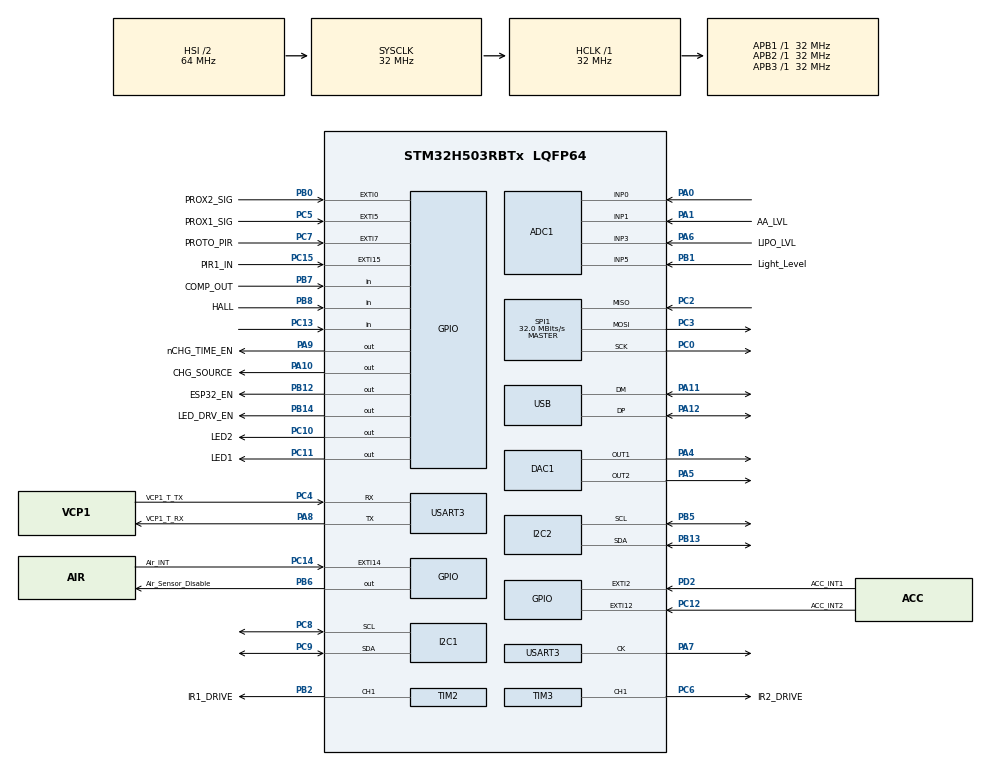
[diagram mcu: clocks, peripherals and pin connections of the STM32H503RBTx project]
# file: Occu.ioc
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ADC1.Channel-1\#ChannelRegularConversion=ADC_CHANNEL_1
ADC1.MonitoredBy-1\#ChannelRegularConversion=__NULL
ADC1.NbrOfConversionFlag=1
ADC1.OffsetNumber-1\#ChannelRegularConversion=ADC_OFFSET_NONE
ADC1.Rank-1\#ChannelRegularConversion=1
ADC1.SamplingTime-1\#ChannelRegularConversion=ADC_SAMPLETIME_2CYCLES_5
ADC1.master=1
BOOTPATH.BootPathName=LEGACY
BOOTPATH.UserSelectedBootPath=LEGACY
DAC1.DAC_Channel-DAC_OUT1=DAC_CHANNEL_1
DAC1.DAC_Channel-DAC_OUT2=DAC_CHANNEL_2
I2C1.Timing=0x00707CBB
I2C2.Timing=0x00707CBB
Mcu.Family=STM32H5
Mcu.Name=STM32H503RBTx
Mcu.Package=LQFP64
NVIC.PriorityGroup=NVIC_PRIORITYGROUP_4
NVIC.TIM1_UP_IRQn=true\:15\:0\:false\:false\:true\:false\:true\:true
NVIC.TimeBase=TIM1_UP_IRQn
NVIC.TimeBaseIP=TIM1
PA0.Signal=ADCx_INP0
PA1.GPIO_Label=AA_LVL
PA1.Signal=ADCx_INP1
PA10.GPIO_Label=CHG_SOURCE
PA10.Signal=GPIO_Output
PA11.Mode=Device
PA11.Signal=USB_DM
PA12.Mode=Device
PA12.Signal=USB_DP
PA13(JTMS/SWDIO).Mode=JTAG_4_pins
PA13(JTMS/SWDIO).Signal=DEBUG_JTMS-SWDIO
PA14(JTCK/SWCLK).Mode=JTAG_4_pins
PA14(JTCK/SWCLK).Signal=DEBUG_JTCK-SWCLK
PA15(JTDI).Mode=JTAG_4_pins
PA15(JTDI).Signal=DEBUG_JTDI
PA4.Signal=COMP_DAC11_group
PA5.Signal=COMP_DAC12_group
PA6.GPIO_Label=LIPO_LVL
PA6.Signal=ADCx_INP3
PA7.Mode=Synchronous
PA7.Signal=USART3_CK
PA8.GPIO_Label=VCP1_T_RX
PA8.Mode=Synchronous
PA8.Signal=USART3_TX
PA9.GPIO_Label=nCHG_TIME_EN
PA9.Signal=GPIO_Output
PB0.GPIO_Label=PROX2_SIG
PB0.Signal=GPXTI0
PB1.GPIO_Label=Light_Level
PB1.Signal=ADCx_INP5
PB12.GPIO_Label=ESP32_EN
PB12.Signal=GPIO_Output
PB13.Mode=I2C
PB13.Signal=I2C2_SDA
PB14.GPIO_Label=LED_DRV_EN
PB14.Signal=GPIO_Output
PB2.GPIO_Label=IR1_DRIVE
PB2.Signal=S_TIM2_CH1
PB3(JTDO/TRACESWO).Mode=JTAG_4_pins
PB3(JTDO/TRACESWO).Signal=DEBUG_JTDO-SWO
PB4(NJTRST).Signal=DEBUG_JTRST
PB5.Mode=I2C
PB5.Signal=I2C2_SCL
PB6.GPIO_Label=Air_Sensor_Disable
PB6.Signal=GPIO_Output
PB7.GPIO_Label=COMP_OUT
PB7.Signal=GPIO_Input
PB8.GPIO_Label=HALL
PB8.Signal=GPIO_Input
PC0.Mode=Full_Duplex_Master
PC0.Signal=SPI1_SCK
PC10.GPIO_Label=LED2
PC10.PinState=GPIO_PIN_SET
PC10.Signal=GPIO_Output
PC11.GPIO_Label=LED1
PC11.PinState=GPIO_PIN_SET
PC11.Signal=GPIO_Output
PC12.GPIO_Label=ACC_INT2
PC12.Signal=GPXTI12
PC13.Signal=GPIO_Input
PC14-OSC32_IN(OSC32_IN).GPIO_Label=Air_INT
PC14-OSC32_IN(OSC32_IN).Signal=GPXTI14
PC15-OSC32_OUT(OSC32_OUT).GPIO_Label=PIR1_IN
PC15-OSC32_OUT(OSC32_OUT).Signal=GPXTI15
PC2.Mode=Full_Duplex_Master
PC2.Signal=SPI1_MISO
PC3.Mode=Full_Duplex_Master
PC3.Signal=SPI1_MOSI
PC4.GPIO_Label=VCP1_T_TX
PC4.Mode=Synchronous
PC4.Signal=USART3_RX
PC5.GPIO_Label=PROX1_SIG
PC5.Signal=GPXTI5
PC6.GPIO_Label=IR2_DRIVE
PC6.Signal=S_TIM3_CH1
PC7.GPIO_Label=PROTO_PIR
PC7.Signal=GPXTI7
PC8.Mode=I2C
PC8.Signal=I2C1_SCL
PC9.Mode=I2C
PC9.Signal=I2C1_SDA
PD2.GPIO_Label=ACC_INT1
PD2.Signal=GPXTI2
PH0-OSC_IN(PH0).Mode=HSE-External-Oscillator
PH0-OSC_IN(PH0).Signal=RCC_OSC_IN
PH1-OSC_OUT(PH1).Mode=HSE-External-Oscillator
PH1-OSC_OUT(PH1).Signal=RCC_OSC_OUT
ProjectManager.HeapSize=0x200
ProjectManager.StackSize=0x400
ProjectManager.TargetToolchain=STM32CubeIDE
RCC.ADCFreq_Value=32000000
RCC.AHBFreq_Value=32000000
RCC.APB1Freq_Value=32000000
RCC.APB1TimFreq_Value=32000000
RCC.APB2Freq_Value=32000000
RCC.APB2TimFreq_Value=32000000
RCC.APB3Freq_Value=32000000
RCC.CSI_VALUE=4000000
RCC.CortexFreq_Value=32000000
RCC.DACLowPowerCLockSelection=RCC_DACLPCLKSOURCE_LSI
RCC.EPOD_VALUE=4000000
RCC.HCLKFreq_Value=32000000
RCC.HSE_VALUE=25000000
RCC.HSI48_VALUE=48000000
RCC.HSI_VALUE=64000000
RCC.LSE_VALUE=32768
RCC.LSIRC_VALUE=32000
RCC.PLLFRACN=0
RCC.PLLN=32
RCC.SYSCLKFreq_VALUE=32000000
RCC.USBFreq_Value=48000000
RCC.VCOOutputFreq_Value=128000000
SH.ADCx_INP0.0=ADC1_INP0,IN0-Single-Ended
SH.ADCx_INP1.0=ADC1_INP1,IN1-Single-Ended
SH.ADCx_INP3.0=ADC1_INP3,IN3-Single-Ended
SH.ADCx_INP5.0=ADC1_INP5,IN5-Single-Ended
SH.COMP_DAC11_group.0=DAC1_OUT1,DAC_OUT1
SH.COMP_DAC12_group.0=DAC1_OUT2,DAC_OUT2
SH.S_TIM2_CH1.0=TIM2_CH1,PWM Generation1 CH1
SH.S_TIM3_CH1.0=TIM3_CH1,PWM Generation1 CH1
SPI1.CalculateBaudRate=32.0 MBits/s
SPI1.Direction=SPI_DIRECTION_2LINES
SPI1.Mode=SPI_MODE_MASTER
SPI1.VirtualType=VM_MASTER
TIM2.Channel-PWM\ Generation1\ CH1=TIM_CHANNEL_1
TIM3.Channel-PWM\ Generation1\ CH1=TIM_CHANNEL_1
USART3.VirtualMode=VM_SYNC
USB.VirtualMode=Device_Only
VP_BOOTPATH_VS_BOOTPATH.Mode=BP_Activate
VP_CORTEX_M33_NS_VS_Hclk.Mode=Hclk_Mode
VP_ICACHE_VS_ICACHE.Mode=DirectMappedCache
VP_MEMORYMAP_VS_MEMORYMAP.Mode=CurAppReg
VP_PWR_VS_DBSignals.Mode=DisableDeadBatterySignals
VP_PWR_VS_LPOM.Mode=PowerOptimisation
VP_PWR_VS_SECSignals.Mode=Security/Privilege
VP_SAU_VS_SAU.Mode=SAU_Init
VP_SYS_VS_tim1.Mode=TIM1
board=custom

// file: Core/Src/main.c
/* USER CODE BEGIN Header */
//https://github.com/berndoJ/IS31FL3236_STM32_HAL_Driver/blob/master/doc/IS31FL3236_WriteRGBPWM%20Function.md
/**
  ******************************************************************************
  * @file           : main.c
  * @brief          : Main program body
  ******************************************************************************
  * @attention
  *
  * Copyright (c) 2024 STMicroelectronics.
  * All rights reserved.
  *
  * This software is licensed under terms that can be found in the LICENSE file
  * in the root directory of this software component.
  * If no LICENSE file comes with this software, it is provided AS-IS.
  *
  ******************************************************************************
  */
/* USER CODE END Header */
#include "main.h"

/* USER CODE BEGIN Includes */
#include "is31fl3236_driver.h"
/* USER CODE END Includes */

ADC_HandleTypeDef hadc1;

DAC_HandleTypeDef hdac1;

I2C_HandleTypeDef hi2c1;
I2C_HandleTypeDef hi2c2;

SPI_HandleTypeDef hspi1;

TIM_HandleTypeDef htim2;
TIM_HandleTypeDef htim3;

USART_HandleTypeDef husart3;

PCD_HandleTypeDef hpcd_USB_DRD_FS;

void SystemClock_Config(void);
static void MX_GPIO_Init(void);
static void MX_ADC1_Init(void);
static void MX_DAC1_Init(void);
static void MX_I2C1_Init(void);
static void MX_SAU_Init(void);
static void MX_SPI1_Init(void);
static void MX_TIM2_Init(void);
static void MX_TIM3_Init(void);
static void MX_USB_PCD_Init(void);
static void MX_I2C2_Init(void);
static void MX_USART3_Init(void);
static void MX_ICACHE_Init(void);

/* USER CODE BEGIN 0 */
#define IS31FL3235A_ADDR 0x78  //0x3C
IS31FL3236_HandleTypeDef* ptr_h_led_drvr_foo;
/* USER CODE END 0 */

int main(void)
{

  /* MCU Configuration--------------------------------------------------------*/

  /* Reset of all peripherals, Initializes the Flash interface and the Systick. */
  HAL_Init();

  /* Configure the system clock */
  SystemClock_Config();

  /* Initialize all configured peripherals */
  MX_GPIO_Init();
  MX_ADC1_Init();
  MX_DAC1_Init();
  MX_I2C1_Init();
  MX_SAU_Init();
  MX_SPI1_Init();
  MX_TIM2_Init();
  MX_TIM3_Init();
  MX_USB_PCD_Init();
  MX_I2C2_Init();
  MX_USART3_Init();
  MX_ICACHE_Init();
  /* USER CODE BEGIN 2 */
  HAL_GPIO_WritePin(GPIOB,ESP32_EN_Pin,GPIO_PIN_RESET);
  HAL_GPIO_WritePin(GPIOB,LED_DRV_EN_Pin,GPIO_PIN_SET);
  HAL_GPIO_WritePin(GPIOA,CHG_SOURCE_Pin,GPIO_PIN_RESET);
  HAL_GPIO_WritePin(GPIOA,nCHG_TIME_EN_Pin,GPIO_PIN_RESET); //nCHG_TIME_EN
  uint8_t i;

 /* int IS31FL3235A_WriteRegister(uint8_t reg, uint8_t value)
  {
      uint8_t data[2] = {reg, value};
      return HAL_I2C_Master_Transmit(&hi2c1, IS31FL3235A_ADDR << 1, data, sizeof(data), 1000);
  }

  void IS31FL3235A_Init(void)
  {
      // Example to set up a normal operation mode and configure all LEDs
      IS31FL3235A_WriteRegister(0x00, 0x01); // Assuming 0x00 is a control register
      //return 0;
  }*/
  /*//IS31FL3235A_Init();
  IS31FL3235A_WriteRegister(0x00, 0x01);
  //IS31FL3235A_Init();
  IS31FL3235A_WriteRegister(0x05, 0x0F);
  //IS31FL3235A_Init();
  IS31FL3235A_WriteRegister(0x08, 0xFF);
  //IS31FL3235A_Init();
  IS31FL3235A_WriteRegister(0x25, 0x00);
  //IS31FL3235A_Init();
  IS31FL3235A_WriteRegister(0x2A, 0xFF);
  //IS31FL3235A_Init();
  IS31FL3235A_WriteRegister(0x4A, 0xFF);
  //IS31FL3235A_Init();
  IS31FL3235A_WriteRegister(0x4B, 0xFF);
  //IS31FL3235A_WriteRegister(0x25, 0x00);*/

  //IS31FL3236_HandleTypeDef* ptr_h_led_drvr_foo;
  //IS31FL3236_Init(ptr_h_led_drvr_foo);
  IS31FL3236_InitTypeDef h_led_drvr_foo;

  h_led_drvr_foo.I2C_Bus = &hi2c1;
  h_led_drvr_foo.I2C_Device_Address = IS31FL3236_GET_I2C_ADDR(IS31FL3236_I2C_AD_TO_GND);
  h_led_drvr_foo.I2C_Transmit_Timeout_Milliseconds = 10; // 10ms is default.
  h_led_drvr_foo.Chip_Enable_Signal_Port = GPIOB;
  h_led_drvr_foo.Chip_Enable_Signal_Pin = GPIO_PIN_14;

  // Optional [
  h_led_drvr_foo.RGB_Mode_Color_1 = IS31FL3236_RGB_CONFIG_RED;
  h_led_drvr_foo.RGB_Mode_Color_2 = IS31FL3236_RGB_CONFIG_GREEN;
  h_led_drvr_foo.RGB_Mode_Color_3 = IS31FL3236_RGB_CONFIG_BLUE;
  // ]

  // Store the pointer to the handle in a (global) variable for future access in other functions.
  ptr_h_led_drvr_foo = &h_led_drvr_foo;

  // Init the handle.
  IS31FL3236_Init(ptr_h_led_drvr_foo);

  IS31FL3236_WriteGlobalLEDControl(ptr_h_led_drvr_foo, IS31FL3236_LED_CURRENT_MAX, IS31FL3236_LED_STATE_ON);
    // Send an update command to the chip.
  IS31FL3236_Update(ptr_h_led_drvr_foo);

  /*for(i=1; i<33; i++)
  {

  IS31FL3236_WriteLEDControl(ptr_h_led_drvr_foo,i, IS31FL3236_LED_CURRENT_MAX_DIV_2, IS31FL3236_LED_STATE_ON);
  // Send the chip and update command.
  IS31FL3236_Update(ptr_h_led_drvr_foo);

  IS31FL3236_WritePWM(ptr_h_led_drvr_foo, i, 200);
  // Send the chip an update command.
  IS31FL3236_Update(ptr_h_led_drvr_foo);

  }*/
/*    IS31FL3236_WriteLEDControl(ptr_h_led_drvr_foo,2, IS31FL3236_LED_CURRENT_MAX_DIV_2, IS31FL3236_LED_STATE_ON);
    IS31FL3236_WriteLEDControl(ptr_h_led_drvr_foo,5, IS31FL3236_LED_CURRENT_MAX_DIV_2, IS31FL3236_LED_STATE_ON);
    IS31FL3236_WriteLEDControl(ptr_h_led_drvr_foo,8, IS31FL3236_LED_CURRENT_MAX_DIV_2, IS31FL3236_LED_STATE_ON);
    IS31FL3236_WriteLEDControl(ptr_h_led_drvr_foo,11, IS31FL3236_LED_CURRENT_MAX_DIV_2, IS31FL3236_LED_STATE_ON);
    IS31FL3236_WriteLEDControl(ptr_h_led_drvr_foo,14, IS31FL3236_LED_CURRENT_MAX_DIV_2, IS31FL3236_LED_STATE_ON);
    IS31FL3236_WriteLEDControl(ptr_h_led_drvr_foo,17, IS31FL3236_LED_CURRENT_MAX_DIV_2, IS31FL3236_LED_STATE_ON);
    IS31FL3236_WriteLEDControl(ptr_h_led_drvr_foo,20, IS31FL3236_LED_CURRENT_MAX_DIV_2, IS31FL3236_LED_STATE_ON);
    IS31FL3236_WriteLEDControl(ptr_h_led_drvr_foo,23, IS31FL3236_LED_CURRENT_MAX_DIV_2, IS31FL3236_LED_STATE_ON);
    IS31FL3236_WriteLEDControl(ptr_h_led_drvr_foo,26, IS31FL3236_LED_CURRENT_MAX_DIV_2, IS31FL3236_LED_STATE_ON);
    // Send the chip and update command.
    IS31FL3236_Update(ptr_h_led_drvr_foo);

    IS31FL3236_WritePWM(ptr_h_led_drvr_foo, 2, 200);
    IS31FL3236_WritePWM(ptr_h_led_drvr_foo, 5, 200);
    IS31FL3236_WritePWM(ptr_h_led_drvr_foo, 8, 200);
    IS31FL3236_WritePWM(ptr_h_led_drvr_foo, 11, 200);IS31FL3236_WritePWM(ptr_h_led_drvr_foo, i, 200);
    IS31FL3236_WritePWM(ptr_h_led_drvr_foo, 14, 200);
    IS31FL3236_WritePWM(ptr_h_led_drvr_foo, 17, 200);
    IS31FL3236_WritePWM(ptr_h_led_drvr_foo, 20, 200);
    IS31FL3236_WritePWM(ptr_h_led_drvr_foo, 23, 200);
    IS31FL3236_WritePWM(ptr_h_led_drvr_foo, 26, 200);
    // Send the chip an update command.
    IS31FL3236_Update(ptr_h_led_drvr_foo);*/

 /* // Set the color of RGB channel 0 to #FF00FF (Violet / Purple)
  IS31FL3236_WriteRGBPWM(ptr_h_led_drvr_foo, 10, 0xFF, 0x00, 0xFF);
  // Send the chip an update command.
  IS31FL3236_Update(ptr_h_led_drvr_foo);*/
  uint8_t selected_channels[] = {2,5,8,11,14,26,23,20,17};
  uint8_t num_of_channels = sizeof(selected_channels) / sizeof(selected_channels[0]);
  uint8_t pwm_value = 128; // Example PWM value

    IS31FL3236_WriteSelectedLEDControl(ptr_h_led_drvr_foo,selected_channels,num_of_channels,IS31FL3236_LED_CURRENT_MAX_DIV_2, IS31FL3236_LED_STATE_ON);
    //IS31FL3236_WriteSelectedPWM(ptr_h_led_drvr_foo,selected_channels,num_of_channels,pwm_value);
    IS31FL3236_RotateSelectedChannels(ptr_h_led_drvr_foo,200,0,100,50);

  /* USER CODE END 2 */

  /* Infinite loop */
  /* USER CODE BEGIN WHILE */
  while (1)
  {

	  HAL_GPIO_WritePin(GPIOC,LED1_Pin,GPIO_PIN_SET);
	  HAL_Delay(500);
	  HAL_GPIO_WritePin(GPIOC,LED1_Pin,GPIO_PIN_RESET);
	  HAL_GPIO_WritePin(GPIOC,LED2_Pin,GPIO_PIN_SET);
	  HAL_Delay(500);
	  HAL_GPIO_WritePin(GPIOC,LED2_Pin,GPIO_PIN_RESET);
    /* USER CODE END WHILE */

  }
}

void SystemClock_Config(void)
{
  RCC_OscInitTypeDef RCC_OscInitStruct = {0};
  RCC_ClkInitTypeDef RCC_ClkInitStruct = {0};

  /** Configure the main internal regulator output voltage
  */
  __HAL_PWR_VOLTAGESCALING_CONFIG(PWR_REGULATOR_VOLTAGE_SCALE3);

  while(!__HAL_PWR_GET_FLAG(PWR_FLAG_VOSRDY)) {}

  /** Initializes the RCC Oscillators according to the specified parameters
  * in the RCC_OscInitTypeDef structure.
  */
  RCC_OscInitStruct.OscillatorType = RCC_OSCILLATORTYPE_HSI48|RCC_OSCILLATORTYPE_HSI
                              |RCC_OSCILLATORTYPE_LSI|RCC_OSCILLATORTYPE_CSI;
  RCC_OscInitStruct.HSIState = RCC_HSI_ON;
  RCC_OscInitStruct.HSIDiv = RCC_HSI_DIV2;
  RCC_OscInitStruct.HSICalibrationValue = RCC_HSICALIBRATION_DEFAULT;
  RCC_OscInitStruct.LSIState = RCC_LSI_ON;
  RCC_OscInitStruct.HSI48State = RCC_HSI48_ON;
  RCC_OscInitStruct.CSIState = RCC_CSI_ON;
  RCC_OscInitStruct.CSICalibrationValue = RCC_CSICALIBRATION_DEFAULT;
  RCC_OscInitStruct.PLL.PLLState = RCC_PLL_ON;
  RCC_OscInitStruct.PLL.PLLSource = RCC_PLL1_SOURCE_CSI;
  RCC_OscInitStruct.PLL.PLLM = 1;
  RCC_OscInitStruct.PLL.PLLN = 32;
  RCC_OscInitStruct.PLL.PLLP = 2;
  RCC_OscInitStruct.PLL.PLLQ = 2;
  RCC_OscInitStruct.PLL.PLLR = 2;
  RCC_OscInitStruct.PLL.PLLRGE = RCC_PLL1_VCIRANGE_2;
  RCC_OscInitStruct.PLL.PLLVCOSEL = RCC_PLL1_VCORANGE_WIDE;
  RCC_OscInitStruct.PLL.PLLFRACN = 0;
  if (HAL_RCC_OscConfig(&RCC_OscInitStruct) != HAL_OK)
  {
    Error_Handler();
  }

  /** Initializes the CPU, AHB and APB buses clocks
  */
  RCC_ClkInitStruct.ClockType = RCC_CLOCKTYPE_HCLK|RCC_CLOCKTYPE_SYSCLK
                              |RCC_CLOCKTYPE_PCLK1|RCC_CLOCKTYPE_PCLK2
                              |RCC_CLOCKTYPE_PCLK3;
  RCC_ClkInitStruct.SYSCLKSource = RCC_SYSCLKSOURCE_HSI;
  RCC_ClkInitStruct.AHBCLKDivider = RCC_SYSCLK_DIV1;
  RCC_ClkInitStruct.APB1CLKDivider = RCC_HCLK_DIV1;
  RCC_ClkInitStruct.APB2CLKDivider = RCC_HCLK_DIV1;
  RCC_ClkInitStruct.APB3CLKDivider = RCC_HCLK_DIV1;

  if (HAL_RCC_ClockConfig(&RCC_ClkInitStruct, FLASH_LATENCY_1) != HAL_OK)
  {
    Error_Handler();
  }
}

static void MX_ADC1_Init(void)
{

  ADC_ChannelConfTypeDef sConfig = {0};

  /** Common config
  */
  hadc1.Instance = ADC1;
  hadc1.Init.ClockPrescaler = ADC_CLOCK_ASYNC_DIV1;
  hadc1.Init.Resolution = ADC_RESOLUTION_12B;
  hadc1.Init.DataAlign = ADC_DATAALIGN_RIGHT;
  hadc1.Init.ScanConvMode = ADC_SCAN_DISABLE;
  hadc1.Init.EOCSelection = ADC_EOC_SINGLE_CONV;
  hadc1.Init.LowPowerAutoWait = DISABLE;
  hadc1.Init.ContinuousConvMode = DISABLE;
  hadc1.Init.NbrOfConversion = 1;
  hadc1.Init.DiscontinuousConvMode = DISABLE;
  hadc1.Init.ExternalTrigConv = ADC_SOFTWARE_START;
  hadc1.Init.ExternalTrigConvEdge = ADC_EXTERNALTRIGCONVEDGE_NONE;
  hadc1.Init.DMAContinuousRequests = DISABLE;
  hadc1.Init.SamplingMode = ADC_SAMPLING_MODE_NORMAL;
  hadc1.Init.Overrun = ADC_OVR_DATA_PRESERVED;
  hadc1.Init.OversamplingMode = DISABLE;
  if (HAL_ADC_Init(&hadc1) != HAL_OK)
  {
    Error_Handler();
  }

  /** Configure Regular Channel
  */
  sConfig.Channel = ADC_CHANNEL_1;
  sConfig.Rank = ADC_REGULAR_RANK_1;
  sConfig.SamplingTime = ADC_SAMPLETIME_2CYCLES_5;
  sConfig.SingleDiff = ADC_SINGLE_ENDED;
  sConfig.OffsetNumber = ADC_OFFSET_NONE;
  sConfig.Offset = 0;
  if (HAL_ADC_ConfigChannel(&hadc1, &sConfig) != HAL_OK)
  {
    Error_Handler();
  }

}

static void MX_DAC1_Init(void)
{

  DAC_ChannelConfTypeDef sConfig = {0};

  /** DAC Initialization
  */
  hdac1.Instance = DAC1;
  if (HAL_DAC_Init(&hdac1) != HAL_OK)
  {
    Error_Handler();
  }

  /** DAC channel OUT1 config
  */
  sConfig.DAC_HighFrequency = DAC_HIGH_FREQUENCY_INTERFACE_MODE_DISABLE;
  sConfig.DAC_DMADoubleDataMode = DISABLE;
  sConfig.DAC_SignedFormat = DISABLE;
  sConfig.DAC_SampleAndHold = DAC_SAMPLEANDHOLD_DISABLE;
  sConfig.DAC_Trigger = DAC_TRIGGER_NONE;
  sConfig.DAC_OutputBuffer = DAC_OUTPUTBUFFER_ENABLE;
  sConfig.DAC_ConnectOnChipPeripheral = DAC_CHIPCONNECT_EXTERNAL;
  sConfig.DAC_UserTrimming = DAC_TRIMMING_FACTORY;
  if (HAL_DAC_ConfigChannel(&hdac1, &sConfig, DAC_CHANNEL_1) != HAL_OK)
  {
    Error_Handler();
  }

  /** DAC channel OUT2 config
  */
  if (HAL_DAC_ConfigChannel(&hdac1, &sConfig, DAC_CHANNEL_2) != HAL_OK)
  {
    Error_Handler();
  }

}

static void MX_I2C1_Init(void)
{

  hi2c1.Instance = I2C1;
  hi2c1.Init.Timing = 0x00707CBB;
  hi2c1.Init.OwnAddress1 = 0;
  hi2c1.Init.AddressingMode = I2C_ADDRESSINGMODE_7BIT;
  hi2c1.Init.DualAddressMode = I2C_DUALADDRESS_DISABLE;
  hi2c1.Init.OwnAddress2 = 0;
  hi2c1.Init.OwnAddress2Masks = I2C_OA2_NOMASK;
  hi2c1.Init.GeneralCallMode = I2C_GENERALCALL_DISABLE;
  hi2c1.Init.NoStretchMode = I2C_NOSTRETCH_DISABLE;
  if (HAL_I2C_Init(&hi2c1) != HAL_OK)
  {
    Error_Handler();
  }

  /** Configure Analogue filter
  */
  if (HAL_I2CEx_ConfigAnalogFilter(&hi2c1, I2C_ANALOGFILTER_ENABLE) != HAL_OK)
  {
    Error_Handler();
  }

  /** Configure Digital filter
  */
  if (HAL_I2CEx_ConfigDigitalFilter(&hi2c1, 0) != HAL_OK)
  {
    Error_Handler();
  }

}

static void MX_I2C2_Init(void)
{

  hi2c2.Instance = I2C2;
  hi2c2.Init.Timing = 0x00707CBB;
  hi2c2.Init.OwnAddress1 = 0;
  hi2c2.Init.AddressingMode = I2C_ADDRESSINGMODE_7BIT;
  hi2c2.Init.DualAddressMode = I2C_DUALADDRESS_DISABLE;
  hi2c2.Init.OwnAddress2 = 0;
  hi2c2.Init.OwnAddress2Masks = I2C_OA2_NOMASK;
  hi2c2.Init.GeneralCallMode = I2C_GENERALCALL_DISABLE;
  hi2c2.Init.NoStretchMode = I2C_NOSTRETCH_DISABLE;
  if (HAL_I2C_Init(&hi2c2) != HAL_OK)
  {
    Error_Handler();
  }

  /** Configure Analogue filter
  */
  if (HAL_I2CEx_ConfigAnalogFilter(&hi2c2, I2C_ANALOGFILTER_ENABLE) != HAL_OK)
  {
    Error_Handler();
  }

  /** Configure Digital filter
  */
  if (HAL_I2CEx_ConfigDigitalFilter(&hi2c2, 0) != HAL_OK)
  {
    Error_Handler();
  }

}

static void MX_ICACHE_Init(void)
{

  /** Enable instruction cache in 1-way (direct mapped cache)
  */
  if (HAL_ICACHE_ConfigAssociativityMode(ICACHE_1WAY) != HAL_OK)
  {
    Error_Handler();
  }
  if (HAL_ICACHE_Enable() != HAL_OK)
  {
    Error_Handler();
  }

}

static void MX_SAU_Init(void)
{

}

static void MX_SPI1_Init(void)
{

  /* SPI1 parameter configuration*/
  hspi1.Instance = SPI1;
  hspi1.Init.Mode = SPI_MODE_MASTER;
  hspi1.Init.Direction = SPI_DIRECTION_2LINES;
  hspi1.Init.DataSize = SPI_DATASIZE_4BIT;
  hspi1.Init.CLKPolarity = SPI_POLARITY_LOW;
  hspi1.Init.CLKPhase = SPI_PHASE_1EDGE;
  hspi1.Init.NSS = SPI_NSS_SOFT;
  hspi1.Init.BaudRatePrescaler = SPI_BAUDRATEPRESCALER_2;
  hspi1.Init.FirstBit = SPI_FIRSTBIT_MSB;
  hspi1.Init.TIMode = SPI_TIMODE_DISABLE;
  hspi1.Init.CRCCalculation = SPI_CRCCALCULATION_DISABLE;
  hspi1.Init.CRCPolynomial = 0x7;
  hspi1.Init.NSSPMode = SPI_NSS_PULSE_ENABLE;
  hspi1.Init.NSSPolarity = SPI_NSS_POLARITY_LOW;
  hspi1.Init.FifoThreshold = SPI_FIFO_THRESHOLD_01DATA;
  hspi1.Init.MasterSSIdleness = SPI_MASTER_SS_IDLENESS_00CYCLE;
  hspi1.Init.MasterInterDataIdleness = SPI_MASTER_INTERDATA_IDLENESS_00CYCLE;
  hspi1.Init.MasterReceiverAutoSusp = SPI_MASTER_RX_AUTOSUSP_DISABLE;
  hspi1.Init.MasterKeepIOState = SPI_MASTER_KEEP_IO_STATE_DISABLE;
  hspi1.Init.IOSwap = SPI_IO_SWAP_DISABLE;
  hspi1.Init.ReadyMasterManagement = SPI_RDY_MASTER_MANAGEMENT_INTERNALLY;
  hspi1.Init.ReadyPolarity = SPI_RDY_POLARITY_HIGH;
  if (HAL_SPI_Init(&hspi1) != HAL_OK)
  {
    Error_Handler();
  }

}

static void MX_TIM2_Init(void)
{

  TIM_MasterConfigTypeDef sMasterConfig = {0};
  TIM_OC_InitTypeDef sConfigOC = {0};

  htim2.Instance = TIM2;
  htim2.Init.Prescaler = 0;
  htim2.Init.CounterMode = TIM_COUNTERMODE_UP;
  htim2.Init.Period = 4294967295;
  htim2.Init.ClockDivision = TIM_CLOCKDIVISION_DIV1;
  htim2.Init.AutoReloadPreload = TIM_AUTORELOAD_PRELOAD_DISABLE;
  if (HAL_TIM_PWM_Init(&htim2) != HAL_OK)
  {
    Error_Handler();
  }
  sMasterConfig.MasterOutputTrigger = TIM_TRGO_RESET;
  sMasterConfig.MasterSlaveMode = TIM_MASTERSLAVEMODE_DISABLE;
  if (HAL_TIMEx_MasterConfigSynchronization(&htim2, &sMasterConfig) != HAL_OK)
  {
    Error_Handler();
  }
  sConfigOC.OCMode = TIM_OCMODE_PWM1;
  sConfigOC.Pulse = 0;
  sConfigOC.OCPolarity = TIM_OCPOLARITY_HIGH;
  sConfigOC.OCFastMode = TIM_OCFAST_DISABLE;
  if (HAL_TIM_PWM_ConfigChannel(&htim2, &sConfigOC, TIM_CHANNEL_1) != HAL_OK)
  {
    Error_Handler();
  }
  HAL_TIM_MspPostInit(&htim2);

}

static void MX_TIM3_Init(void)
{

  TIM_MasterConfigTypeDef sMasterConfig = {0};
  TIM_OC_InitTypeDef sConfigOC = {0};

  htim3.Instance = TIM3;
  htim3.Init.Prescaler = 0;
  htim3.Init.CounterMode = TIM_COUNTERMODE_UP;
  htim3.Init.Period = 65535;
  htim3.Init.ClockDivision = TIM_CLOCKDIVISION_DIV1;
  htim3.Init.AutoReloadPreload = TIM_AUTORELOAD_PRELOAD_DISABLE;
  if (HAL_TIM_PWM_Init(&htim3) != HAL_OK)
  {
    Error_Handler();
  }
  sMasterConfig.MasterOutputTrigger = TIM_TRGO_RESET;
  sMasterConfig.MasterSlaveMode = TIM_MASTERSLAVEMODE_DISABLE;
  if (HAL_TIMEx_MasterConfigSynchronization(&htim3, &sMasterConfig) != HAL_OK)
  {
    Error_Handler();
  }
  sConfigOC.OCMode = TIM_OCMODE_PWM1;
  sConfigOC.Pulse = 0;
  sConfigOC.OCPolarity = TIM_OCPOLARITY_HIGH;
  sConfigOC.OCFastMode = TIM_OCFAST_DISABLE;
  if (HAL_TIM_PWM_ConfigChannel(&htim3, &sConfigOC, TIM_CHANNEL_1) != HAL_OK)
  {
    Error_Handler();
  }
  HAL_TIM_MspPostInit(&htim3);

}

static void MX_USART3_Init(void)
{

  husart3.Instance = USART3;
  husart3.Init.BaudRate = 115200;
  husart3.Init.WordLength = USART_WORDLENGTH_8B;
  husart3.Init.StopBits = USART_STOPBITS_1;
  husart3.Init.Parity = USART_PARITY_NONE;
  husart3.Init.Mode = USART_MODE_TX_RX;
  husart3.Init.CLKPolarity = USART_POLARITY_LOW;
  husart3.Init.CLKPhase = USART_PHASE_1EDGE;
  husart3.Init.CLKLastBit = USART_LASTBIT_DISABLE;
  husart3.Init.ClockPrescaler = USART_PRESCALER_DIV1;
  husart3.SlaveMode = USART_SLAVEMODE_DISABLE;
  if (HAL_USART_Init(&husart3) != HAL_OK)
  {
    Error_Handler();
  }
  if (HAL_USARTEx_SetTxFifoThreshold(&husart3, USART_TXFIFO_THRESHOLD_1_8) != HAL_OK)
  {
    Error_Handler();
  }
  if (HAL_USARTEx_SetRxFifoThreshold(&husart3, USART_RXFIFO_THRESHOLD_1_8) != HAL_OK)
  {
    Error_Handler();
  }
  if (HAL_USARTEx_DisableFifoMode(&husart3) != HAL_OK)
  {
    Error_Handler();
  }

}

static void MX_USB_PCD_Init(void)
{

  hpcd_USB_DRD_FS.Instance = USB_DRD_FS;
  hpcd_USB_DRD_FS.Init.dev_endpoints = 8;
  hpcd_USB_DRD_FS.Init.speed = USBD_FS_SPEED;
  hpcd_USB_DRD_FS.Init.phy_itface = PCD_PHY_EMBEDDED;
  hpcd_USB_DRD_FS.Init.Sof_enable = DISABLE;
  hpcd_USB_DRD_FS.Init.low_power_enable = DISABLE;
  hpcd_USB_DRD_FS.Init.lpm_enable = DISABLE;
  hpcd_USB_DRD_FS.Init.battery_charging_enable = DISABLE;
  hpcd_USB_DRD_FS.Init.vbus_sensing_enable = DISABLE;
  hpcd_USB_DRD_FS.Init.bulk_doublebuffer_enable = DISABLE;
  hpcd_USB_DRD_FS.Init.iso_singlebuffer_enable = DISABLE;
  if (HAL_PCD_Init(&hpcd_USB_DRD_FS) != HAL_OK)
  {
    Error_Handler();
  }

}

static void MX_GPIO_Init(void)
{
  GPIO_InitTypeDef GPIO_InitStruct = {0};

  /* GPIO Ports Clock Enable */
  __HAL_RCC_GPIOC_CLK_ENABLE();
  __HAL_RCC_GPIOH_CLK_ENABLE();
  __HAL_RCC_GPIOA_CLK_ENABLE();
  __HAL_RCC_GPIOB_CLK_ENABLE();
  __HAL_RCC_GPIOD_CLK_ENABLE();

  /*Configure GPIO pin Output Level */
  HAL_GPIO_WritePin(GPIOB, ESP32_EN_Pin|LED_DRV_EN_Pin|Air_Sensor_Disable_Pin, GPIO_PIN_RESET);

  /*Configure GPIO pin Output Level */
  HAL_GPIO_WritePin(GPIOA, nCHG_TIME_EN_Pin|CHG_SOURCE_Pin, GPIO_PIN_RESET);

  /*Configure GPIO pin Output Level */
  HAL_GPIO_WritePin(GPIOC, LED2_Pin|LED1_Pin, GPIO_PIN_SET);

  /*Configure GPIO pin : PC13 */
  GPIO_InitStruct.Pin = GPIO_PIN_13;
  GPIO_InitStruct.Mode = GPIO_MODE_INPUT;
  GPIO_InitStruct.Pull = GPIO_NOPULL;
  HAL_GPIO_Init(GPIOC, &GPIO_InitStruct);

  /*Configure GPIO pins : Air_INT_Pin PIR1_IN_Pin PROX1_SIG_Pin PROTO_PIR_Pin
                           ACC_INT2_Pin */
  GPIO_InitStruct.Pin = Air_INT_Pin|PIR1_IN_Pin|PROX1_SIG_Pin|PROTO_PIR_Pin
                          |ACC_INT2_Pin;
  GPIO_InitStruct.Mode = GPIO_MODE_IT_RISING;
  GPIO_InitStruct.Pull = GPIO_NOPULL;
  HAL_GPIO_Init(GPIOC, &GPIO_InitStruct);

  /*Configure GPIO pin : PROX2_SIG_Pin */
  GPIO_InitStruct.Pin = PROX2_SIG_Pin;
  GPIO_InitStruct.Mode = GPIO_MODE_IT_RISING;
  GPIO_InitStruct.Pull = GPIO_NOPULL;
  HAL_GPIO_Init(PROX2_SIG_GPIO_Port, &GPIO_InitStruct);

  /*Configure GPIO pins : ESP32_EN_Pin LED_DRV_EN_Pin Air_Sensor_Disable_Pin */
  GPIO_InitStruct.Pin = ESP32_EN_Pin|LED_DRV_EN_Pin|Air_Sensor_Disable_Pin;
  GPIO_InitStruct.Mode = GPIO_MODE_OUTPUT_PP;
  GPIO_InitStruct.Pull = GPIO_NOPULL;
  GPIO_InitStruct.Speed = GPIO_SPEED_FREQ_LOW;
  HAL_GPIO_Init(GPIOB, &GPIO_InitStruct);

  /*Configure GPIO pins : nCHG_TIME_EN_Pin CHG_SOURCE_Pin */
  GPIO_InitStruct.Pin = nCHG_TIME_EN_Pin|CHG_SOURCE_Pin;
  GPIO_InitStruct.Mode = GPIO_MODE_OUTPUT_PP;
  GPIO_InitStruct.Pull = GPIO_NOPULL;
  GPIO_InitStruct.Speed = GPIO_SPEED_FREQ_LOW;
  HAL_GPIO_Init(GPIOA, &GPIO_InitStruct);

  /*Configure GPIO pins : LED2_Pin LED1_Pin */
  GPIO_InitStruct.Pin = LED2_Pin|LED1_Pin;
  GPIO_InitStruct.Mode = GPIO_MODE_OUTPUT_PP;
  GPIO_InitStruct.Pull = GPIO_NOPULL;
  GPIO_InitStruct.Speed = GPIO_SPEED_FREQ_LOW;
  HAL_GPIO_Init(GPIOC, &GPIO_InitStruct);

  /*Configure GPIO pin : ACC_INT1_Pin */
  GPIO_InitStruct.Pin = ACC_INT1_Pin;
  GPIO_InitStruct.Mode = GPIO_MODE_IT_RISING;
  GPIO_InitStruct.Pull = GPIO_NOPULL;
  HAL_GPIO_Init(ACC_INT1_GPIO_Port, &GPIO_InitStruct);

  /*Configure GPIO pins : COMP_OUT_Pin HALL_Pin */
  GPIO_InitStruct.Pin = COMP_OUT_Pin|HALL_Pin;
  GPIO_InitStruct.Mode = GPIO_MODE_INPUT;
  GPIO_InitStruct.Pull = GPIO_NOPULL;
  HAL_GPIO_Init(GPIOB, &GPIO_InitStruct);

}

void HAL_TIM_PeriodElapsedCallback(TIM_HandleTypeDef *htim)
{
  if (htim->Instance == TIM1) {
    HAL_IncTick();
  }
}

void Error_Handler(void)
{
  __disable_irq();
  while (1)
  {
  }
}
